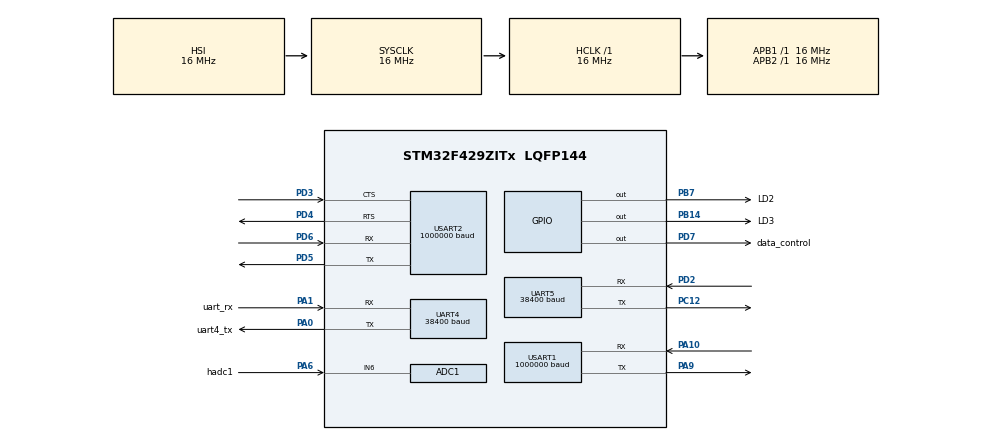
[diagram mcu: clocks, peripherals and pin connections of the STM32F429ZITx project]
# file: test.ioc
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Mcu.Family=STM32F4
RCC.CortexFreq_Value=16000000
ADC1.ContinuousConvMode=ENABLE
Dma.USART2_TX.1.MemInc=DMA_MINC_ENABLE
USART1.BaudRate=1000000
PC12.Signal=UART5_TX
PB14.GPIO_Label=LD3
PA0/WKUP.Signal=UART4_TX
PA6.GPIO_Label=hadc1
PC14/OSC32_IN.Mode=LSE-External-Oscillator
ProjectManager.StackSize=0x400
Dma.USART2_RX.0.Priority=DMA_PRIORITY_HIGH
PH0/OSC_IN.Mode=HSE-External-Oscillator
Dma.USART2_RX.0.PeriphDataAlignment=DMA_PDATAALIGN_BYTE
UART4.BaudRate=38400
PD4.Signal=USART2_RTS
ADC1.Channel-2\#ChannelRegularConversion=ADC_CHANNEL_6
Dma.USART2_TX.1.Mode=DMA_NORMAL
PH1/OSC_OUT.Signal=RCC_OSC_OUT
NVIC.DMA2_Stream0_IRQn=true\:0\:0\:false\:false\:true\:false\:true
RCC.AHBFreq_Value=16000000
PD5.Mode=Asynchronous
RCC.HSE_VALUE=25000000
ADC1.Rank-2\#ChannelRegularConversion=1
Dma.ADC1.2.MemDataAlignment=DMA_MDATAALIGN_HALFWORD
Dma.USART2_RX.0.MemDataAlignment=DMA_MDATAALIGN_BYTE
Dma.USART2_TX.1.Instance=DMA1_Stream6
Dma.USART2_RX.0.Instance=DMA1_Stream5
Dma.ADC1.2.Direction=DMA_PERIPH_TO_MEMORY
PB7.Signal=GPIO_Output
PD3.Mode=CTS_RTS
PH1/OSC_OUT.Mode=HSE-External-Oscillator
PD7.GPIO_Label=data_control
PB7.GPIO_Label=LD2
Mcu.Package=LQFP144
PA6.Signal=ADCx_IN6
Dma.USART2_RX.0.PeriphInc=DMA_PINC_DISABLE
USART2.VirtualMode=VM_ASYNC
Dma.USART2_RX.0.FIFOMode=DMA_FIFOMODE_DISABLE
PC14/OSC32_IN.Signal=RCC_OSC32_IN
PA10.Signal=USART1_RX
PD4.Mode=CTS_RTS
Dma.Request2=ADC1
Dma.Request1=USART2_TX
UART5.BaudRate=38400
PD6.Signal=USART2_RX
NVIC.DMA1_Stream6_IRQn=true\:0\:0\:false\:false\:true\:false\:true
Dma.Request0=USART2_RX
Dma.ADC1.2.Mode=DMA_NORMAL
Dma.USART2_TX.1.Priority=DMA_PRIORITY_HIGH
PA10.Mode=Asynchronous
Dma.USART2_TX.1.FIFOMode=DMA_FIFOMODE_DISABLE
SH.ADCx_IN6.0=ADC1_IN6,IN6
Dma.ADC1.2.PeriphDataAlignment=DMA_PDATAALIGN_HALFWORD
PD3.Signal=USART2_CTS
Dma.USART2_RX.0.Direction=DMA_PERIPH_TO_MEMORY
PD7.Signal=GPIO_Output
PD5.Signal=USART2_TX
UART5.VirtualMode=Asynchronous
UART4.VirtualMode=Asynchronous
PD6.Mode=Asynchronous
Dma.USART2_TX.1.PeriphDataAlignment=DMA_PDATAALIGN_BYTE
NVIC.USART2_IRQn=true\:0\:0\:false\:false\:true\:true\:true
USART2.BaudRate=1000000
ADC1.SamplingTime-2\#ChannelRegularConversion=ADC_SAMPLETIME_3CYCLES
Dma.USART2_RX.0.Mode=DMA_NORMAL
PA9.Mode=Asynchronous
Dma.ADC1.2.MemInc=DMA_MINC_ENABLE
ProjectManager.TargetToolchain=STM32CubeIDE
NVIC.DMA1_Stream5_IRQn=true\:0\:0\:false\:false\:true\:false\:true
PA9.Signal=USART1_TX
PA1.Signal=UART4_RX
PA0/WKUP.Mode=Asynchronous
PB14.Signal=GPIO_Output
PD2.Mode=Asynchronous
PC12.Mode=Asynchronous
Dma.USART2_TX.1.PeriphInc=DMA_PINC_DISABLE
board=custom
RCC.VCOOutputFreq_Value=192000000
PH0/OSC_IN.Signal=RCC_OSC_IN
Dma.USART2_TX.1.Direction=DMA_MEMORY_TO_PERIPH
RCC.APB2Freq_Value=16000000
PA1.Mode=Asynchronous
PA1.GPIO_Label=uart_rx
PA0/WKUP.GPIO_Label=uart4_tx
Mcu.Name=STM32F429ZITx
Dma.USART2_RX.0.MemInc=DMA_MINC_ENABLE
Dma.ADC1.2.Instance=DMA2_Stream0
RCC.SYSCLKFreq_VALUE=16000000
Dma.ADC1.2.Priority=DMA_PRIORITY_LOW
ADC1.master=1
Dma.ADC1.2.PeriphInc=DMA_PINC_DISABLE
PC15/OSC32_OUT.Mode=LSE-External-Oscillator
USART1.VirtualMode=VM_ASYNC
ProjectManager.HeapSize=0x200
Dma.ADC1.2.FIFOMode=DMA_FIFOMODE_DISABLE
RCC.HSI_VALUE=16000000
NVIC.PriorityGroup=NVIC_PRIORITYGROUP_4
ADC1.NbrOfConversionFlag=1
PC15/OSC32_OUT.Signal=RCC_OSC32_OUT
Dma.USART2_TX.1.MemDataAlignment=DMA_MDATAALIGN_BYTE
PD2.Signal=UART5_RX
RCC.APB1Freq_Value=16000000

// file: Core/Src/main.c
/* USER CODE BEGIN Header */
/**
  ******************************************************************************
  * @file           : main.c
  * @brief          : Main program body
  ******************************************************************************
  * @attention
  *
  * <h2><center>&copy; Copyright (c) 2021 STMicroelectronics.
  * All rights reserved.</center></h2>
  *
  * This software component is licensed by ST under BSD 3-Clause license,
  * the "License"; You may not use this file except in compliance with the
  * License. You may obtain a copy of the License at:
  *                        opensource.org/licenses/BSD-3-Clause
  *
  ******************************************************************************
  */
/* USER CODE END Header */
#include "main.h"

ADC_HandleTypeDef hadc1;
DMA_HandleTypeDef hdma_adc1;

UART_HandleTypeDef huart4;
UART_HandleTypeDef huart5;
UART_HandleTypeDef huart1;
UART_HandleTypeDef huart2;
DMA_HandleTypeDef hdma_usart2_rx;
DMA_HandleTypeDef hdma_usart2_tx;

/* USER CODE BEGIN PV */
char test[1] = {0};
uint32_t adc_test = {0, 0};
unsigned char id1_speed[9] = {0xFF,0xFF,0x01,0x05,0x03,0x20,0x64,0x00,0x72};
unsigned char id2_speed[9] = {0xFF,0xFF,0x02,0x05,0x03,0x20,0x64,0x00,0x71};
unsigned char id3_speed[9] = {0xFF,0xFF,0x03,0x05,0x03,0x20,0x0C,0x01,0xC7};
unsigned char id1_move[9] = {0xFF,0xFF,0x01,0x05,0x03,0x1E,0x00,0x00,0x00};//0
unsigned char id2_move[9] = {0xFF,0xFF,0x02,0x05,0x03,0x1E,0x00,0x00,0x00};//0
unsigned char id3_move[9] = {0xFF,0xFF,0x03,0x05,0x03,0x1E,0x00,0x00,0x00};//0
char move_to_0[9] = {0xFF,0xFF,0xFE,0x05,0x03,0x1E,0x00,0x00,0xDB};//0
char move_to_512[9] = {0xFF,0xFF,0x01,0x05,0x03,0x1E,0xFF,0x01,0xdb};//512
char move_to_1023[9] = {0xFF,0xFF,0x01,0x05,0x03,0x1E,0xFF,0x03,0xd6};//1023
char move_to_2047[9] = {0xFF,0xFF,0x01,0x05,0x03,0x1E,0xFF,0x07,0xd5};//2047
char move_to_3041[9] = {0xFF,0xFF,0x01,0x05,0x03,0x1E,0xFF,0x0B,0xd1};//3041
char move_to_4095[9] = {0xFF,0xFF,0x01,0x05,0x03,0x1E,0xFF,0x2F,0xAA};//4095
char move_to_4095_2[9] = {0xFF,0xFF,0x02,0x05,0x03,0x1E,0xFF,0x2F,0xAD};//4095
char set_speed_stop[9] = {0xFF,0xFF,0x01,0x05,0x03,0x20,0x0,0x00,0xd9};//?�度?��0
char set_speed_fast[9] = {0xFF,0xFF,0x01,0x05,0x03,0x20,0xFF,0x03,0xd7};//?�度?��1023
char wheel_mode_speed_fast_forward[9] = {0xFF,0xFF,0xFE,0x05,0x03,0x20,0xFF,0x07,0xd3};//�???????????�???????????
char wheel_mode_speed_fast_reverse[9] = {0xFF,0xFF,0xFE,0x05,0x03,0x20,0xFF,0x03,0xd7};//??��??
char led_on[8] = {0xFF,0xFF,0xFE,0x04,0x03,25,0x01,0xE0};
char led_off[8] = {0xFF,0xFF,0xFE,0x04,0x03,0x19,0x00,0xE1};

char change_to_node_model[11] = {0xFF,0xFF,0xFE,0x07,0x03,0x06,0xFF,0x0F,0xFF,0x0F,0xD5};

char change_to_wheel_model[11] = {0xFF,0xFF,0xFE,0x07,0x03,0x06,0x00,0x00,0x00,0x00,0xF1};

double d_1 = 0.374;
double d_2 = 0;
double d_3 = 0.247;
double l_1 = 0.16458;
double l_2 = 0.085;
double l_3 = 0;
double alpha_1 = 0;
double alpha_2 = 180;
double alpha_3 = 0;
double vaule = 0;
double k1;
double k2;
double A;
double theta_1;
double theta_2;
double theta_3;
double past_theta_1,past_theta_2,past_theta_3;
double clock;
int change_theta_1;
double change_theta_2;
double des_P2_0[4] = {-0.12303658, -0.24303658, 0.05, 1};
int C1;
int C2;
int C3;

void move_to_110xy(double id1_theta ,double id2_theta,int id3_theta)
{
	double id1_fffff;
	int id1_position,id2_position;
	unsigned char id1_low_position,id1_high_position;
	unsigned char id2_low_position,id2_high_position;
	unsigned char id3_low_position,id3_high_position;

	id1_fffff=47;
	id1_position = (id1_theta+id1_fffff)*4096/360*11/2;
	id2_position = id2_theta*4096/360*9/2;

	id1_low_position=id1_position%256;
	id1_high_position=id1_position/256%256;

	id2_low_position=id2_position%256;
	id2_high_position=id2_position/256%256;

	id3_low_position=id3_theta%256;
	id3_high_position=id3_theta/256%256;

	id1_move[6]=id1_low_position;
	id1_move[7]=id1_high_position;
	id1_move[8]=~(id1_move[2]+id1_move[3]+id1_move[4]+id1_move[5]+id1_move[6]+id1_move[7]);

	id2_move[6]=id2_low_position;
	id2_move[7]=id2_high_position;
	id2_move[8]=~(id2_move[2]+id2_move[3]+id2_move[4]+id2_move[5]+id2_move[6]+id2_move[7]);

	id3_move[6]=id3_low_position;
	id3_move[7]=id3_high_position;
	id3_move[8]=~(id3_move[2]+id3_move[3]+id3_move[4]+id3_move[5]+id3_move[6]+id3_move[7]);

	HAL_UART_Transmit_DMA(&huart2, id1_move, 9);
	HAL_Delay(100);
	HAL_UART_Transmit_DMA(&huart2, id2_move, 9);
	HAL_Delay(100);
	HAL_UART_Transmit_DMA(&huart2, id3_move, 9);
	HAL_Delay(100);
}

void move_to_z(int id3_theta)
{
	unsigned char id3_low_position,id3_high_position;

	id3_low_position=id3_theta%256;
	id3_high_position=id3_theta/256%256;

	id3_move[6]=id3_low_position;
	id3_move[7]=id3_high_position;
	id3_move[8]=~(id3_move[2]+id3_move[3]+id3_move[4]+id3_move[5]+id3_move[6]+id3_move[7]);

	HAL_UART_Transmit_DMA(&huart2, id3_move, 9);
	HAL_Delay(100);
}
void caculate(void)
{
	if(sqrt(pow(des_P2_0[0],2)+pow(des_P2_0[1],2))<=0.24958){
	  if(sqrt(pow(des_P2_0[0],2)+pow(des_P2_0[1],2))>=0.07958){
			A = (pow(des_P2_0[0], 2) + pow(des_P2_0[1], 2) - pow(l_1, 2) - pow(l_2, 2)) / (2 * l_1 * l_2);
		  theta_2 = atan2(sqrt(1 - pow(A, 2)), A);
		  change_theta_2 = theta_2*180/3.14;
		  k1 = l_1 + l_2 * cos(theta_2);
		  k2 = l_2 * sin(theta_2);
		  theta_1 = (atan2(des_P2_0[1] ,des_P2_0[0]) - atan2(k2 ,k1))*180/3.14;

		  theta_3 = des_P2_0[2]*4096/0.0085;

		  theta_1=theta_1;
/*
		  C3 = (theta_3 - past_theta_3)/200;
		  C2 = change_theta_2 - past_theta_2;
		  C1 = theta_1 - past_theta_1;
		  clock=41*(abs(C3)+abs(C2)+abs(C1));

		  past_theta_3=theta_3;
		  past_theta_2=change_theta_2;
		  past_theta_1=theta_1;
		  */
		  move_to_110xy(-theta_1, change_theta_2, theta_3);
		  HAL_Delay(100);
		  //HAL_Delay(clock);
	  }
  }
}
/* USER CODE END PV */

void SystemClock_Config(void);
static void MX_GPIO_Init(void);
static void MX_DMA_Init(void);
static void MX_USART2_UART_Init(void);
static void MX_USART1_UART_Init(void);
static void MX_UART4_Init(void);
static void MX_ADC1_Init(void);
static void MX_UART5_Init(void);

int main(void)
{

  /* MCU Configuration--------------------------------------------------------*/

  /* Reset of all peripherals, Initializes the Flash interface and the Systick. */
      HAL_Init();

  /* Configure the system clock */
  SystemClock_Config();

  /* Initialize all configured peripherals */
  MX_GPIO_Init();
  MX_DMA_Init();
  MX_USART2_UART_Init();
  MX_USART1_UART_Init();
  MX_UART4_Init();
  MX_ADC1_Init();
  MX_UART5_Init();

  /* Infinite loop */
  /* USER CODE BEGIN WHILE */
  HAL_GPIO_WritePin(GPIOD, GPIO_PIN_7, GPIO_PIN_RESET);

  while (1)
  {
    /* USER CODE END WHILE */

    /* USER CODE BEGIN 3 */

      /*初始馬達設定*/
	  HAL_GPIO_WritePin(GPIOD, GPIO_PIN_7, GPIO_PIN_SET);
	  HAL_Delay(1000);
	  HAL_UART_Transmit_DMA(&huart2, id1_speed, 9);
	  HAL_Delay(500);
	  HAL_UART_Transmit_DMA(&huart2, id2_speed, 9);
	  HAL_Delay(500);
	  HAL_UART_Transmit_DMA(&huart2, id3_speed, 9);
	  HAL_Delay(500);
	  HAL_UART_Transmit_DMA(&huart2, id1_speed, 9);
	  HAL_Delay(500);
	  HAL_UART_Transmit_DMA(&huart2, change_to_node_model, 11);
	  HAL_Delay(500);
	  move_to_110xy(3,0,0.5);
	  HAL_Delay(2000);
	  HAL_UART_Transmit_DMA(&huart2, led_on, 8);

	  /*LED閃爍3次*/
		  HAL_Delay(1000);
		  HAL_UART_Transmit_DMA(&huart2, led_off, 8);
		  HAL_Delay(1000);
		  HAL_UART_Transmit_DMA(&huart2, led_on, 8);
		  HAL_Delay(1000);
		  HAL_UART_Transmit_DMA(&huart2, led_off, 8);
		  HAL_Delay(1000);
		  HAL_UART_Transmit_DMA(&huart2, led_on, 8);
		  HAL_Delay(1000);
	  while(1){

		/*  move_to_110xy(90,0,0);
		  HAL_Delay(20000);
		  move_to_110xy(-90,0,0);
		  HAL_Delay(10000);
		  move_to_110xy(-90,0,10000);
		  HAL_Delay(10000);
		  move_to_110xy(3,0,10);
		  HAL_Delay(10000);
		  */
	  /*接收資訊*/

	  HAL_UART_Receive(&huart5, test, 1, HAL_MAX_DELAY);
	  HAL_Delay(100);
	  switch(test[0]){
	  case '1':
		  des_P2_0[0] = -0.17647971;
		  des_P2_0[1] = 0.17647971;
		  caculate();
		  caculate();//130.6 10.8
		  //move_to_110xy(-135,0,0.5);

		  break;
	  case '2':
		  des_P2_0[0] = 0;
		  des_P2_0[1] = 0.18647971;
		  caculate();
		  caculate();//54.6 92.5
		  //move_to_110xy(-54.6,92.5,0.5);

		  break;
	  case '3':
		  des_P2_0[0] = 0.17647971;
		  des_P2_0[1] = 0.17647971;
		  caculate();
		  caculate();//40.6 10.8
		  //move_to_110xy(-45,0,0.5);

		  break;
	  case '4':
		  des_P2_0[0] = -0.17647971;
		  des_P2_0[1] = 0;
		  caculate();
		  caculate();//131 88.4
		  //move_to_110xy(-131,88.4,0.5);

		  break;
	  case '5':
		  des_P2_0[0] = 0;
		  des_P2_0[1] = 0;
		  caculate();
		  caculate();//80.9 175.9
		  //move_to_110xy(-90,180,0.5);

		  break;
	  case '6':
		  des_P2_0[0] = 0.17647971;
		  des_P2_0[1] = 0;
		  caculate();
		  caculate();//-19.2 88.4
		  //move_to_110xy(19.2,88.4,0.5);

		  break;
	  case '7':
		  des_P2_0[0] = -0.17647971;
		  des_P2_0[1] = -0.17647971;
		  caculate();
		  caculate();//-139.4 10.8
		  //move_to_110xy(135,0,0.5);

		  break;
	  case '8':
		  des_P2_0[0] = 0;
		  des_P2_0[1] = -0.19647971;
		  caculate();
		  caculate();//-125.4 92.5
		  //move_to_110xy(125.4,92.5,0.5);

		  break;
	  case '9':
		  des_P2_0[0] = 0.17647971;
		  des_P2_0[1] = -0.17647971;
		  caculate();
		  caculate();//-49.4 10.8
		  //move_to_110xy(45,0,0.5);

		  break;

	  case 'u':

		  des_P2_0[2] =des_P2_0[2]+0.01 ;
		  caculate();
		  caculate();

		  break;
	  case 'd':
		  des_P2_0[2] =des_P2_0[2]-0.01;
		  caculate();
		  caculate();

		  break;
	  case 'f':
		  des_P2_0[1] =des_P2_0[1]+0.01;
		  caculate();
		  caculate();
		  break;
	  case 'b':
		  des_P2_0[1] = des_P2_0[1]-0.01;
		  caculate();
		  caculate();
		  break;
	  case 'l':
		  des_P2_0[0] = des_P2_0[0]-0.01;
		  caculate();
		  caculate();

		  break;
	  case 'r':
		  des_P2_0[0] = des_P2_0[0]+0.01;
		  caculate();
		  caculate();

		  break;
	  case 'z':
		  des_P2_0[0] = 0.24958;
		  des_P2_0[1] = 0;
		  des_P2_0[2] = 0.5;
		  caculate();
		  caculate();

		  break;
	  default:
		  des_P2_0[0] = des_P2_0[0];
		  des_P2_0[1] = des_P2_0[1];
		  des_P2_0[2] = des_P2_0[2];
		  break;

	  }
	  test[0]='0';

	  /*3點測試*/

/*

//	  theta_3=10;
//	  change_theta_2=0;
//	  theta_1=3;
//
//	  C3 = (theta_3 - past_theta_3)/200;
//	  C2 = change_theta_2 - past_theta_2;
//	  C1 = theta_1 - past_theta_1;
//	  clock=40*(abs(C3)+abs(C2)+abs(C1));
//	  HAL_Delay(clock);
//	  past_theta_3=10;
//	  past_theta_2=0;
//	  past_theta_1=3;

	   des_P2_0[0] = 0.12303658;
	   des_P2_0[1] = -0.24303658;
	   des_P2_0[2] =0.05;
	   caculate();
	   HAL_Delay(10000);

	   HAL_UART_Transmit_DMA(&huart2, led_off, 8);
	   HAL_Delay(1000);
	   HAL_UART_Transmit_DMA(&huart2, led_on, 8);
	   HAL_Delay(1000);

	   des_P2_0[0] = 0.064;
	   des_P2_0[1] = 0;
	   des_P2_0[2] =0.01;
	   caculate();
	   HAL_Delay(10000);

	   move_to_110xy(3,0,0);
	   HAL_Delay(10000);
*/
	  }
  }
  /* USER CODE END 3 */
}

void SystemClock_Config(void)
{
  RCC_OscInitTypeDef RCC_OscInitStruct = {0};
  RCC_ClkInitTypeDef RCC_ClkInitStruct = {0};

  /** Configure the main internal regulator output voltage
  */
  __HAL_RCC_PWR_CLK_ENABLE();
  __HAL_PWR_VOLTAGESCALING_CONFIG(PWR_REGULATOR_VOLTAGE_SCALE3);
  /** Initializes the RCC Oscillators according to the specified parameters
  * in the RCC_OscInitTypeDef structure.
  */
  RCC_OscInitStruct.OscillatorType = RCC_OSCILLATORTYPE_HSI;
  RCC_OscInitStruct.HSIState = RCC_HSI_ON;
  RCC_OscInitStruct.HSICalibrationValue = RCC_HSICALIBRATION_DEFAULT;
  RCC_OscInitStruct.PLL.PLLState = RCC_PLL_NONE;
  if (HAL_RCC_OscConfig(&RCC_OscInitStruct) != HAL_OK)
  {
    Error_Handler();
  }
  /** Initializes the CPU, AHB and APB buses clocks
  */
  RCC_ClkInitStruct.ClockType = RCC_CLOCKTYPE_HCLK|RCC_CLOCKTYPE_SYSCLK
                              |RCC_CLOCKTYPE_PCLK1|RCC_CLOCKTYPE_PCLK2;
  RCC_ClkInitStruct.SYSCLKSource = RCC_SYSCLKSOURCE_HSI;
  RCC_ClkInitStruct.AHBCLKDivider = RCC_SYSCLK_DIV1;
  RCC_ClkInitStruct.APB1CLKDivider = RCC_HCLK_DIV1;
  RCC_ClkInitStruct.APB2CLKDivider = RCC_HCLK_DIV1;

  if (HAL_RCC_ClockConfig(&RCC_ClkInitStruct, FLASH_LATENCY_0) != HAL_OK)
  {
    Error_Handler();
  }
}

static void MX_ADC1_Init(void)
{

  ADC_ChannelConfTypeDef sConfig = {0};

  /** Configure the global features of the ADC (Clock, Resolution, Data Alignment and number of conversion)
  */
  hadc1.Instance = ADC1;
  hadc1.Init.ClockPrescaler = ADC_CLOCK_SYNC_PCLK_DIV2;
  hadc1.Init.Resolution = ADC_RESOLUTION_12B;
  hadc1.Init.ScanConvMode = DISABLE;
  hadc1.Init.ContinuousConvMode = ENABLE;
  hadc1.Init.DiscontinuousConvMode = DISABLE;
  hadc1.Init.ExternalTrigConvEdge = ADC_EXTERNALTRIGCONVEDGE_NONE;
  hadc1.Init.ExternalTrigConv = ADC_SOFTWARE_START;
  hadc1.Init.DataAlign = ADC_DATAALIGN_RIGHT;
  hadc1.Init.NbrOfConversion = 1;
  hadc1.Init.DMAContinuousRequests = DISABLE;
  hadc1.Init.EOCSelection = ADC_EOC_SINGLE_CONV;
  if (HAL_ADC_Init(&hadc1) != HAL_OK)
  {
    Error_Handler();
  }
  /** Configure for the selected ADC regular channel its corresponding rank in the sequencer and its sample time.
  */
  sConfig.Channel = ADC_CHANNEL_6;
  sConfig.Rank = 1;
  sConfig.SamplingTime = ADC_SAMPLETIME_3CYCLES;
  if (HAL_ADC_ConfigChannel(&hadc1, &sConfig) != HAL_OK)
  {
    Error_Handler();
  }

}

static void MX_UART4_Init(void)
{

  huart4.Instance = UART4;
  huart4.Init.BaudRate = 38400;
  huart4.Init.WordLength = UART_WORDLENGTH_8B;
  huart4.Init.StopBits = UART_STOPBITS_1;
  huart4.Init.Parity = UART_PARITY_NONE;
  huart4.Init.Mode = UART_MODE_TX_RX;
  huart4.Init.HwFlowCtl = UART_HWCONTROL_NONE;
  huart4.Init.OverSampling = UART_OVERSAMPLING_16;
  if (HAL_UART_Init(&huart4) != HAL_OK)
  {
    Error_Handler();
  }

}

static void MX_UART5_Init(void)
{

  huart5.Instance = UART5;
  huart5.Init.BaudRate = 38400;
  huart5.Init.WordLength = UART_WORDLENGTH_8B;
  huart5.Init.StopBits = UART_STOPBITS_1;
  huart5.Init.Parity = UART_PARITY_NONE;
  huart5.Init.Mode = UART_MODE_TX_RX;
  huart5.Init.HwFlowCtl = UART_HWCONTROL_NONE;
  huart5.Init.OverSampling = UART_OVERSAMPLING_16;
  if (HAL_UART_Init(&huart5) != HAL_OK)
  {
    Error_Handler();
  }

}

static void MX_USART1_UART_Init(void)
{

  huart1.Instance = USART1;
  huart1.Init.BaudRate = 1000000;
  huart1.Init.WordLength = UART_WORDLENGTH_8B;
  huart1.Init.StopBits = UART_STOPBITS_1;
  huart1.Init.Parity = UART_PARITY_NONE;
  huart1.Init.Mode = UART_MODE_TX_RX;
  huart1.Init.HwFlowCtl = UART_HWCONTROL_NONE;
  huart1.Init.OverSampling = UART_OVERSAMPLING_16;
  if (HAL_UART_Init(&huart1) != HAL_OK)
  {
    Error_Handler();
  }

}

static void MX_USART2_UART_Init(void)
{

  huart2.Instance = USART2;
  huart2.Init.BaudRate = 1000000;
  huart2.Init.WordLength = UART_WORDLENGTH_8B;
  huart2.Init.StopBits = UART_STOPBITS_1;
  huart2.Init.Parity = UART_PARITY_NONE;
  huart2.Init.Mode = UART_MODE_TX_RX;
  huart2.Init.HwFlowCtl = UART_HWCONTROL_RTS_CTS;
  huart2.Init.OverSampling = UART_OVERSAMPLING_16;
  if (HAL_UART_Init(&huart2) != HAL_OK)
  {
    Error_Handler();
  }

}

static void MX_DMA_Init(void)
{

  /* DMA controller clock enable */
  __HAL_RCC_DMA1_CLK_ENABLE();
  __HAL_RCC_DMA2_CLK_ENABLE();

  /* DMA interrupt init */
  /* DMA1_Stream5_IRQn interrupt configuration */
  HAL_NVIC_SetPriority(DMA1_Stream5_IRQn, 0, 0);
  HAL_NVIC_EnableIRQ(DMA1_Stream5_IRQn);
  /* DMA1_Stream6_IRQn interrupt configuration */
  HAL_NVIC_SetPriority(DMA1_Stream6_IRQn, 0, 0);
  HAL_NVIC_EnableIRQ(DMA1_Stream6_IRQn);
  /* DMA2_Stream0_IRQn interrupt configuration */
  HAL_NVIC_SetPriority(DMA2_Stream0_IRQn, 0, 0);
  HAL_NVIC_EnableIRQ(DMA2_Stream0_IRQn);

}

static void MX_GPIO_Init(void)
{
  GPIO_InitTypeDef GPIO_InitStruct = {0};

  /* GPIO Ports Clock Enable */
  __HAL_RCC_GPIOC_CLK_ENABLE();
  __HAL_RCC_GPIOH_CLK_ENABLE();
  __HAL_RCC_GPIOA_CLK_ENABLE();
  __HAL_RCC_GPIOB_CLK_ENABLE();
  __HAL_RCC_GPIOD_CLK_ENABLE();

  /*Configure GPIO pin Output Level */
  HAL_GPIO_WritePin(GPIOB, LD3_Pin|LD2_Pin, GPIO_PIN_RESET);

  /*Configure GPIO pin Output Level */
  HAL_GPIO_WritePin(data_control_GPIO_Port, data_control_Pin, GPIO_PIN_RESET);

  /*Configure GPIO pins : LD3_Pin LD2_Pin */
  GPIO_InitStruct.Pin = LD3_Pin|LD2_Pin;
  GPIO_InitStruct.Mode = GPIO_MODE_OUTPUT_PP;
  GPIO_InitStruct.Pull = GPIO_NOPULL;
  GPIO_InitStruct.Speed = GPIO_SPEED_FREQ_LOW;
  HAL_GPIO_Init(GPIOB, &GPIO_InitStruct);

  /*Configure GPIO pin : data_control_Pin */
  GPIO_InitStruct.Pin = data_control_Pin;
  GPIO_InitStruct.Mode = GPIO_MODE_OUTPUT_PP;
  GPIO_InitStruct.Pull = GPIO_NOPULL;
  GPIO_InitStruct.Speed = GPIO_SPEED_FREQ_LOW;
  HAL_GPIO_Init(data_control_GPIO_Port, &GPIO_InitStruct);

}

void Error_Handler(void)
{
  __disable_irq();
  while (1)
  {
  }
}

/************************ (C) COPYRIGHT STMicroelectronics *****END OF FILE****/
